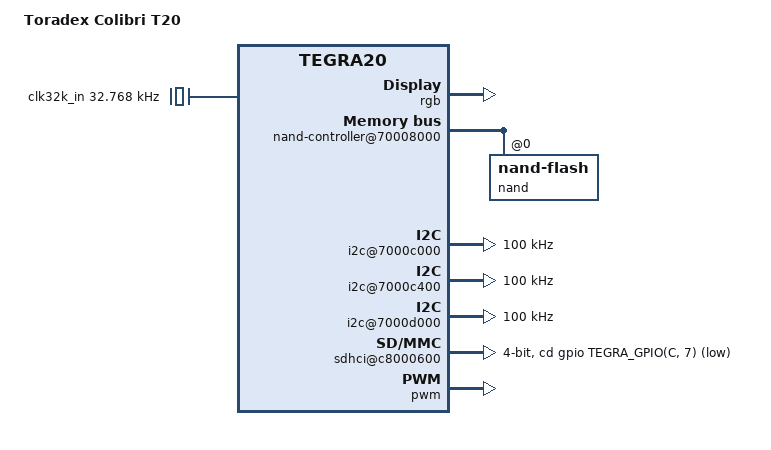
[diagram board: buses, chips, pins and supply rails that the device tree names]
/dts-v1/;

#include "tegra20.dtsi"

/ {
	model = "Toradex Colibri T20";
	compatible = "toradex,colibri_t20", "nvidia,tegra20";

	chosen {
		stdout-path = &uarta;
	};

	aliases {
		i2c0 = "/i2c@7000d000";
		i2c1 = "/i2c@7000c000";
		i2c2 = "/i2c@7000c400";
		usb0 = "/usb@c5008000";
		usb1 = "/usb@c5000000";
		usb2 = "/usb@c5004000";
		sdhci0 = "/sdhci@c8000600";
	};

	host1x@50000000 {
		status = "okay";
		dc@54200000 {
			status = "okay";
			rgb {
				status = "okay";
				nvidia,panel = <&lcd_panel>;
			};
		};
	};

	usb@c5000000 {
		statuc = "okay";
		dr_mode = "otg";
	};

	usb@c5004000 {
		statuc = "okay";
		/* VBUS_LAN */
		nvidia,phy-reset-gpio = <&gpio TEGRA_GPIO(V, 1) GPIO_ACTIVE_HIGH>;
		nvidia,vbus-gpio = <&gpio TEGRA_GPIO(BB, 1) GPIO_ACTIVE_HIGH>;
	};

	usb@c5008000 {
		statuc = "okay";
		/* USBH_PEN */
		nvidia,vbus-gpio = <&gpio TEGRA_GPIO(W, 2) GPIO_ACTIVE_LOW>;
	};

	nand-controller@70008000 {
		nvidia,wp-gpios = <&gpio TEGRA_GPIO(S, 0) GPIO_ACTIVE_HIGH>;
		nvidia,width = <8>;
		nvidia,timing = <15 100 25 80 25 10 15 10 100>;

		nand@0 {
			reg = <0>;
			compatible = "nand-flash";
		};
	};

	/*
	 * GEN1_I2C: I2C_SDA/SCL on SODIMM pin 194/196 (e.g. RTC on carrier
	 * board)
	 */
	i2c@7000c000 {
		status = "okay";
		clock-frequency = <100000>;
	};

	/* GEN2_I2C: unused */

	/* DDC_CLOCK/DATA on X3 pin 15/16 (e.g. display EDID) */
	i2c@7000c400 {
		status = "okay";
		clock-frequency = <100000>;
	};

	/*
	 * PWR_I2C: power I2C to PMIC and temperature sensor
	 */
	i2c@7000d000 {
		status = "okay";
		clock-frequency = <100000>;
	};

	sdhci@c8000600 {
		status = "okay";
		bus-width = <4>;
		cd-gpios = <&gpio TEGRA_GPIO(C, 7) GPIO_ACTIVE_LOW>;
	};

	clocks {
		compatible = "simple-bus";
		#address-cells = <1>;
		#size-cells = <0>;

		clk32k_in: clock@0 {
			compatible = "fixed-clock";
			reg=<0>;
			#clock-cells = <0>;
			clock-frequency = <32768>;
		};
	};

	pwm: pwm@7000a000 {
		status = "okay";
	};

	lcd_panel: panel {
		clock = <25175000>;
		xres = <640>;
		yres = <480>;
		left-margin = <48>;	/* horizontal back porch */
		right-margin = <16>;	/* horizontal front porch */
		hsync-len = <96>;
		lower-margin = <11>;	/* vertical front porch */
		upper-margin = <31>;	/* vertical back porch */
		vsync-len = <2>;
		hsync-active-high;
		vsync-active-high;
		nvidia,bits-per-pixel = <16>;
		nvidia,pwm = <&pwm 0 0>;
		nvidia,backlight-enable-gpios = <&gpio TEGRA_GPIO(T, 4) GPIO_ACTIVE_HIGH>;
		nvidia,panel-timings = <0 0 0 0>;
	};
};
